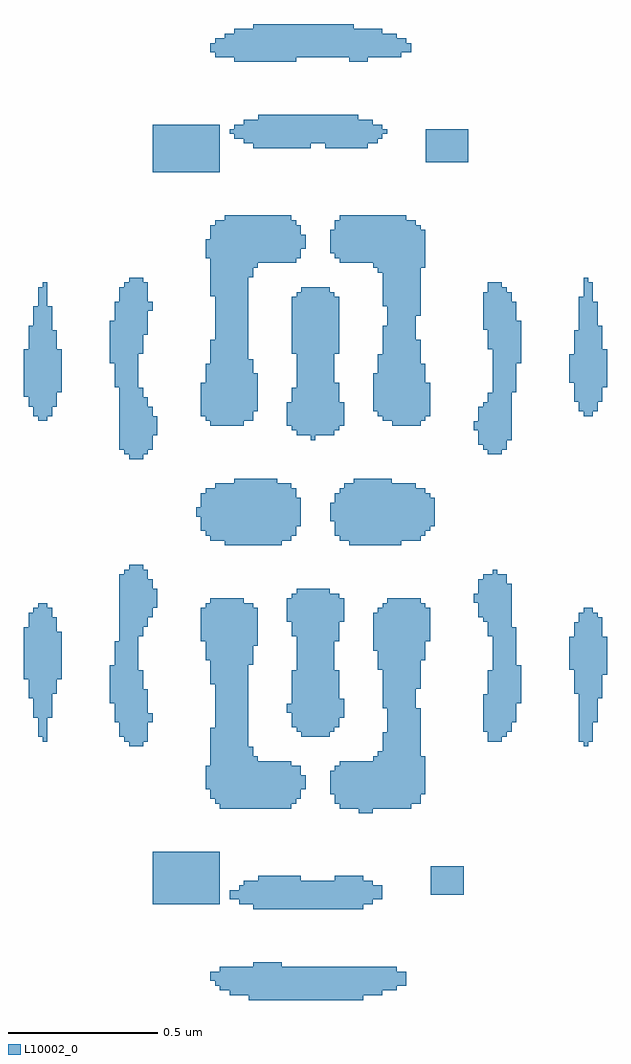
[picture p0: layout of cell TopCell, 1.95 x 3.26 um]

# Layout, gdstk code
import gdstk
lib = gdstk.Library(unit=1e-6, precision=1e-09)
def R(c, l, rs):  # rectangles x0, y0, x1, y1
    for r in rs: c.add(gdstk.rectangle(r[:2], r[2:], *l))
L10002_0 = (10002, 0)

topcell = lib.new_cell('TopCell')
R(topcell, L10002_0, [(1.216,0.432,1.599,0.543), (1.152,0.448,1.216,0.543), (1.599,0.448,1.663,0.543), (1.12,0.464,1.152,0.543), (1.663,0.464,1.711,0.543), (1.104,0.48,1.12,0.527), (1.711,0.48,1.743,0.527), (1.088,0.496,1.104,0.527), (1.232,0.543,1.327,0.559), (1.232,0.736,1.599,0.831), (0.896,0.752,1.119,0.927), (1.184,0.752,1.232,0.815), (1.599,0.752,1.631,0.831), (1.152,0.768,1.184,0.799), (1.631,0.768,1.663,0.815), (1.824,0.784,1.935,0.879), (1.2,0.815,1.232,0.831), (1.248,0.831,1.391,0.847), (1.504,0.831,1.599,0.847), (1.584,1.056,1.631,1.231), (1.12,1.072,1.199,1.775), (1.199,1.072,1.215,1.759), (1.215,1.072,1.231,1.279), (1.231,1.072,1.247,1.247), (1.247,1.072,1.359,1.231), (1.52,1.072,1.584,1.231), (1.631,1.072,1.759,1.231), (1.104,1.088,1.12,1.775), (1.359,1.088,1.375,1.215), (1.504,1.088,1.52,1.215), (1.759,1.088,1.775,1.775), (1.775,1.088,1.791,1.407), (1.088,1.104,1.104,1.343), (1.375,1.104,1.391,1.215), (1.488,1.12,1.504,1.199), (1.791,1.12,1.807,1.247), (1.072,1.136,1.088,1.215), (1.391,1.136,1.407,1.183), (1.632,1.231,1.759,1.247), (1.648,1.247,1.759,1.263), (1.664,1.263,1.759,1.327), (0.816,1.28,0.847,1.887), (0.847,1.28,0.863,1.535), (2.336,1.28,2.351,1.743), (0.528,1.296,0.543,1.759), (0.8,1.296,0.816,1.871), (0.863,1.296,0.879,1.471), (2.016,1.296,2.063,1.535), (2.32,1.296,2.336,1.727), (2.351,1.296,2.367,1.743), (0.512,1.312,0.528,1.759), (0.784,1.312,0.8,1.855), (1.392,1.312,1.487,1.807), (2.063,1.312,2.079,1.855), (1.68,1.327,1.759,1.775), (1.376,1.328,1.392,1.807), (1.487,1.328,1.503,1.791), (2,1.328,2.016,1.455), (2.079,1.328,2.095,1.823), (1.36,1.344,1.376,1.535), (1.503,1.344,1.519,1.535), (0.768,1.36,0.784,1.631), (0.879,1.36,0.895,1.391), (2.095,1.36,2.111,1.679), (2.367,1.36,2.383,1.727), (0.496,1.376,0.512,1.743), (0.543,1.376,0.559,1.743), (1.519,1.376,1.535,1.439), (1.344,1.392,1.36,1.423), (1.664,1.408,1.68,1.759), (0.752,1.424,0.768,1.551), (2.111,1.424,2.127,1.551), (0.48,1.44,0.496,1.727), (2.383,1.44,2.399,1.711), (0.559,1.456,0.575,1.711), (2.304,1.456,2.32,1.695), (1.775,1.472,1.791,1.775), (1.088,1.488,1.104,1.775), (0.464,1.504,0.48,1.679), (0.575,1.504,0.591,1.663), (2.399,1.52,2.415,1.647), (2.032,1.535,2.047,1.871), (2.047,1.535,2.063,1.855), (1.648,1.536,1.664,1.743), (2.288,1.536,2.304,1.647), (1.215,1.552,1.231,1.759), (1.072,1.568,1.088,1.759), (1.791,1.568,1.807,1.759), (1.632,1.6,1.648,1.727), (1.231,1.616,1.247,1.743), (1.056,1.632,1.072,1.743), (1.503,1.632,1.519,1.791), (1.807,1.632,1.823,1.743), (0.847,1.648,0.863,1.887), (1.36,1.648,1.376,1.791), (2.016,1.648,2.032,1.855), (0.863,1.68,0.879,1.871), (1.344,1.696,1.36,1.775), (1.519,1.696,1.535,1.775), (2,1.696,2.016,1.855), (0.879,1.712,0.895,1.839), (1.984,1.712,2,1.839), (0.895,1.744,0.911,1.807), (1.968,1.76,1.984,1.791), (1.136,1.952,1.327,2.159), (1.552,1.952,1.727,2.159), (1.088,1.968,1.136,2.143), (1.327,1.968,1.359,2.159), (1.52,1.968,1.552,2.143), (1.727,1.968,1.775,2.159), (1.775,1.968,1.791,2.143), (1.072,1.984,1.088,2.143), (1.359,1.984,1.375,2.143), (1.504,1.984,1.52,2.127), (1.791,1.984,1.807,2.143), (1.056,2,1.072,2.127), (1.807,2,1.823,2.127), (1.375,2.016,1.391,2.111), (1.823,2.016,1.839,2.111), (1.488,2.032,1.504,2.095), (1.04,2.048,1.056,2.079), (1.104,2.143,1.136,2.159), (1.536,2.143,1.552,2.159), (1.168,2.159,1.311,2.175), (1.568,2.159,1.695,2.175), (0.816,2.24,0.847,2.847), (0.847,2.24,0.863,2.479), (0.8,2.256,0.816,2.831), (0.863,2.256,0.879,2.447), (2.016,2.256,2.063,2.463), (0.784,2.272,0.8,2.815), (0.879,2.272,0.895,2.415), (2,2.272,2.016,2.431), (2.063,2.272,2.079,2.815), (1.984,2.288,2,2.415), (1.424,2.304,1.439,2.815), (2.079,2.304,2.095,2.799), (0.895,2.32,0.911,2.383), (1.376,2.32,1.424,2.799), (1.439,2.32,1.487,2.815), (1.487,2.32,1.503,2.799), (1.36,2.336,1.376,2.479), (1.503,2.336,1.519,2.495), (1.968,2.336,1.984,2.367), (1.088,2.352,1.199,2.639), (1.344,2.352,1.36,2.431), (1.519,2.352,1.535,2.431), (1.696,2.352,1.743,3.055), (1.743,2.352,1.775,3.039), (1.775,2.352,1.791,2.639), (0.512,2.368,0.543,2.815), (1.072,2.368,1.088,2.559), (1.199,2.368,1.215,3.055), (1.215,2.368,1.231,2.575), (1.664,2.368,1.696,2.687), (1.791,2.368,1.807,2.559), (0.496,2.384,0.512,2.751), (0.543,2.384,0.559,2.751), (1.056,2.384,1.072,2.495), (1.648,2.384,1.664,2.591), (1.807,2.384,1.823,2.495), (2.336,2.384,2.351,2.847), (2.351,2.384,2.367,2.831), (1.231,2.4,1.247,2.527), (1.632,2.4,1.648,2.527), (2.32,2.4,2.336,2.783), (2.367,2.4,2.383,2.767), (0.48,2.416,0.496,2.687), (0.559,2.416,0.575,2.671), (2.304,2.432,2.32,2.671), (2.383,2.432,2.399,2.687), (0.464,2.448,0.48,2.607), (2.032,2.463,2.063,2.831), (0.575,2.464,0.591,2.607), (2.095,2.464,2.111,2.767), (0.768,2.48,0.784,2.767), (2.399,2.48,2.415,2.607), (2.288,2.496,2.304,2.591), (0.752,2.56,0.768,2.703), (2.111,2.56,2.127,2.703), (0.847,2.592,0.863,2.847), (1.36,2.592,1.376,2.783), (1.503,2.592,1.519,2.783), (2.016,2.608,2.032,2.831), (1.104,2.639,1.199,3.039), (0.863,2.656,0.879,2.831), (2,2.672,2.016,2.799), (1.68,2.687,1.696,3.055), (1.775,2.72,1.791,3.023), (0.879,2.736,0.895,2.767), (1.664,2.752,1.68,3.055), (1.088,2.784,1.104,3.023), (1.392,2.799,1.424,2.815), (0.528,2.815,0.543,2.831), (1.215,2.848,1.231,3.055), (1.648,2.864,1.664,3.055), (1.231,2.88,1.247,3.055), (1.632,2.88,1.648,3.055), (1.791,2.88,1.807,3.007), (1.247,2.896,1.359,3.055), (1.359,2.896,1.375,3.039), (1.52,2.896,1.632,3.055), (1.072,2.912,1.088,2.975), (1.375,2.912,1.391,3.023), (1.504,2.912,1.52,3.039), (1.488,2.928,1.504,3.007), (1.391,2.944,1.407,2.991), (1.136,3.039,1.199,3.055), (0.896,3.2,1.119,3.359), (1.808,3.232,1.951,3.343), (1.232,3.28,1.423,3.375), (1.472,3.28,1.583,3.391), (1.583,3.28,1.615,3.375), (1.2,3.296,1.232,3.375), (1.423,3.296,1.472,3.391), (1.615,3.296,1.631,3.375), (1.631,3.296,1.647,3.359), (1.168,3.312,1.2,3.359), (1.647,3.312,1.663,3.359), (1.152,3.328,1.168,3.343), (1.663,3.328,1.679,3.343), (1.248,3.375,1.423,3.391), (1.168,3.568,1.375,3.679), (1.552,3.568,1.567,3.695), (1.567,3.568,1.615,3.679), (1.104,3.584,1.168,3.647), (1.375,3.584,1.552,3.695), (1.615,3.584,1.663,3.679), (1.663,3.584,1.711,3.663), (1.711,3.584,1.727,3.647), (1.088,3.6,1.104,3.631), (1.727,3.6,1.743,3.647), (1.743,3.6,1.759,3.631), (1.136,3.647,1.168,3.663), (1.232,3.679,1.375,3.695)])

lib.write_gds('TopCell.gds')
